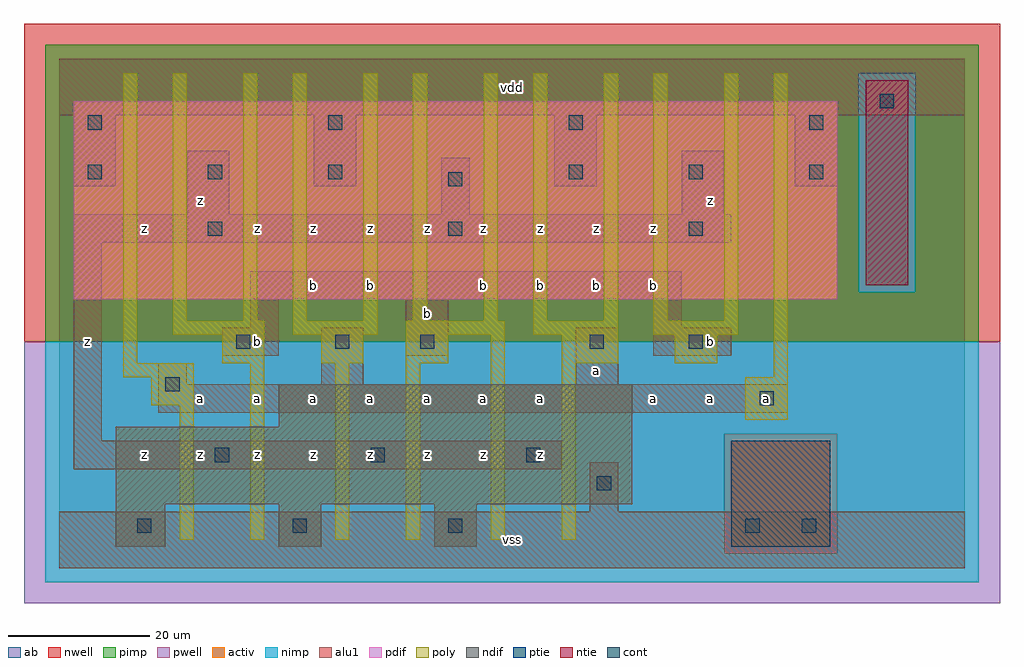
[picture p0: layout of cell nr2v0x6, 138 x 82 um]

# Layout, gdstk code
import gdstk
lib = gdstk.Library(unit=1e-6, precision=1e-09)
def R(c, l, rs):  # rectangles x0, y0, x1, y1
    for r in rs: c.add(gdstk.rectangle(r[:2], r[2:], *l))
def A(c, l, x, y, w, h, nx, ny, dx, dy):  # array of equal rectangles
    R(c, l, [(x+i*dx, y+j*dy, x+i*dx+w, y+j*dy+h) for i in range(nx) for j in range(ny)])
ndif = (3, 0)
pdif = (4, 0)
ntie = (5, 0)
ptie = (6, 0)
cont = (25, 0)
pwell = (41, 0)
nwell = (42, 0)
activ = (43, 0)
pimp = (44, 0)
nimp = (45, 0)
poly = (46, 0)
alu1 = (49, 0)
ab = (63, 0)

nr2v0x6 = lib.new_cell('nr2v0x6')
R(nr2v0x6, ndif, [(8,3,15,9), (31,3,37,9), (53,3,59,9), (8,9,81,20), (31,20,81,26)])
R(nr2v0x6, pdif, [(2,38,110,66)])
R(nr2v0x6, ntie, [(114,40,120,69)])
R(nr2v0x6, ptie, [(95,3,109,18)])
A(nr2v0x6, cont, 11, 5, 2, 2, 3, 1, 22, 0)
A(nr2v0x6, cont, 22, 15, 2, 2, 3, 1, 22, 0)
A(nr2v0x6, cont, 21, 47, 2, 2, 3, 1, 34, 0)
A(nr2v0x6, cont, 4, 55, 2, 2, 3, 1, 17, 0)
A(nr2v0x6, cont, 72, 55, 2, 2, 3, 1, 17, 0)
A(nr2v0x6, cont, 4, 62, 2, 2, 4, 1, 34, 0)
R(nr2v0x6, cont, [(97,5,99,7), (105,5,107,7), (76,11,78,13), (99,23,101,25), (15,25,17,27), (25,31,27,33), (39,31,41,33), (51,31,53,33), (75,31,77,33), (89,31,91,33), (55,54,57,56), (116,65,118,67)])
R(nr2v0x6, pwell, [(-5,-5,133,32)])
R(nr2v0x6, nwell, [(-5,32,133,77)])
R(nr2v0x6, activ, [(8,3,15,9), (31,3,37,9), (53,3,59,9), (95,3,109,18), (8,9,81,20), (31,20,81,26), (2,38,110,66), (114,40,120,69)])
R(nr2v0x6, pimp, [(94,2,110,19), (-2,32,130,39), (-2,39,113,70), (121,39,130,70), (-2,70,130,74)])
R(nr2v0x6, nimp, [(-2,-2,130,2), (-2,2,94,19), (110,2,130,19), (-2,19,130,32), (113,39,121,70)])
R(nr2v0x6, poly, [(17,4,19,23), (27,4,29,29), (39,4,41,29), (49,4,51,29), (61,4,63,33), (71,4,73,29), (97,21,103,27), (13,23,19,27), (9,27,19,29), (101,27,103,70), (9,29,11,70), (23,29,29,33), (37,29,43,33), (49,29,55,33), (71,29,79,33), (87,29,93,33), (16,33,29,35), (33,33,45,35), (49,33,63,35), (67,33,79,35), (84,33,96,35), (16,35,18,70), (26,35,28,70), (33,35,35,70), (43,35,45,70), (50,35,52,70), (60,35,62,70), (67,35,69,70), (77,35,79,70), (84,35,86,70), (94,35,96,70)])
A(nr2v0x6, alu1, 2, 54, 6, 10, 4, 1, 34, 0)
R(nr2v0x6, alu1, [(0,0,128,8), (75,8,79,15), (2,14,71,18), (2,18,6,46), (14,22,103,26), (14,26,18,29), (37,26,43,34), (73,26,79,34), (23,30,31,34), (49,30,55,38), (84,30,95,34), (27,34,31,38), (84,34,88,38), (27,38,88,42), (2,46,95,50), (18,50,24,59), (54,50,58,58), (88,50,94,59), (0,64,128,72)])
R(nr2v0x6, ab, [(0,0,128,72)])
nr2v0x6.add(gdstk.Label('z', (12,16), layer=49, texttype=0))
nr2v0x6.add(gdstk.Label('z', (20,16), layer=49, texttype=0))
nr2v0x6.add(gdstk.Label('a', (20,24), layer=49, texttype=0))
nr2v0x6.add(gdstk.Label('z', (4,32), layer=49, texttype=0))
nr2v0x6.add(gdstk.Label('z', (20,52), layer=49, texttype=0))
nr2v0x6.add(gdstk.Label('z', (12,48), layer=49, texttype=0))
nr2v0x6.add(gdstk.Label('z', (28,16), layer=49, texttype=0))
nr2v0x6.add(gdstk.Label('z', (36,16), layer=49, texttype=0))
nr2v0x6.add(gdstk.Label('z', (44,16), layer=49, texttype=0))
nr2v0x6.add(gdstk.Label('a', (28,24), layer=49, texttype=0))
nr2v0x6.add(gdstk.Label('a', (36,24), layer=49, texttype=0))
nr2v0x6.add(gdstk.Label('a', (44,24), layer=49, texttype=0))
nr2v0x6.add(gdstk.Label('b', (28,32), layer=49, texttype=0))
nr2v0x6.add(gdstk.Label('b', (36,40), layer=49, texttype=0))
nr2v0x6.add(gdstk.Label('b', (44,40), layer=49, texttype=0))
nr2v0x6.add(gdstk.Label('z', (28,48), layer=49, texttype=0))
nr2v0x6.add(gdstk.Label('z', (36,48), layer=49, texttype=0))
nr2v0x6.add(gdstk.Label('z', (44,48), layer=49, texttype=0))
nr2v0x6.add(gdstk.Label('vss', (64,4), layer=49, texttype=0))
nr2v0x6.add(gdstk.Label('z', (60,16), layer=49, texttype=0))
nr2v0x6.add(gdstk.Label('z', (68,16), layer=49, texttype=0))
nr2v0x6.add(gdstk.Label('z', (52,16), layer=49, texttype=0))
nr2v0x6.add(gdstk.Label('a', (52,24), layer=49, texttype=0))
nr2v0x6.add(gdstk.Label('a', (60,24), layer=49, texttype=0))
nr2v0x6.add(gdstk.Label('a', (68,24), layer=49, texttype=0))
nr2v0x6.add(gdstk.Label('b', (52,36), layer=49, texttype=0))
nr2v0x6.add(gdstk.Label('b', (60,40), layer=49, texttype=0))
nr2v0x6.add(gdstk.Label('b', (68,40), layer=49, texttype=0))
nr2v0x6.add(gdstk.Label('z', (52,48), layer=49, texttype=0))
nr2v0x6.add(gdstk.Label('z', (60,48), layer=49, texttype=0))
nr2v0x6.add(gdstk.Label('z', (68,48), layer=49, texttype=0))
nr2v0x6.add(gdstk.Label('vdd', (64,68), layer=49, texttype=0))
nr2v0x6.add(gdstk.Label('a', (100,24), layer=49, texttype=0))
nr2v0x6.add(gdstk.Label('a', (84,24), layer=49, texttype=0))
nr2v0x6.add(gdstk.Label('a', (92,24), layer=49, texttype=0))
nr2v0x6.add(gdstk.Label('b', (92,32), layer=49, texttype=0))
nr2v0x6.add(gdstk.Label('a', (76,28), layer=49, texttype=0))
nr2v0x6.add(gdstk.Label('b', (76,40), layer=49, texttype=0))
nr2v0x6.add(gdstk.Label('b', (84,40), layer=49, texttype=0))
nr2v0x6.add(gdstk.Label('z', (76,48), layer=49, texttype=0))
nr2v0x6.add(gdstk.Label('z', (92,52), layer=49, texttype=0))
nr2v0x6.add(gdstk.Label('z', (84,48), layer=49, texttype=0))

lib.write_gds('nr2v0x6.gds')
